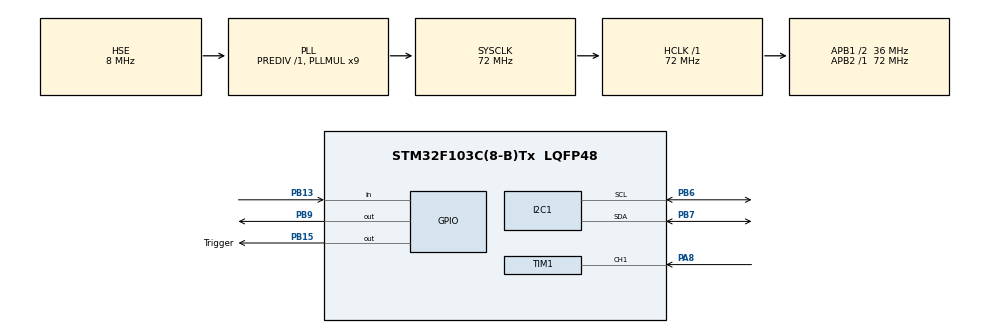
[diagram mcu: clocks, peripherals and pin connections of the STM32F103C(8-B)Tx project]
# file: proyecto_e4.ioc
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I2C1.I2C_Mode=I2C_Fast
Mcu.Family=STM32F1
Mcu.Name=STM32F103C(8-B)Tx
Mcu.Package=LQFP48
NVIC.PriorityGroup=NVIC_PRIORITYGROUP_4
NVIC.TIM1_CC_IRQn=true\:0\:0\:false\:false\:true\:true\:true\:true
PA8.Signal=S_TIM1_CH1
PB13.Signal=GPIO_Input
PB15.GPIO_Label=Trigger
PB15.Signal=GPIO_Output
PB6.Mode=I2C
PB6.Signal=I2C1_SCL
PB7.Mode=I2C
PB7.Signal=I2C1_SDA
PB9.Signal=GPIO_Output
PD0-OSC_IN.Mode=HSE-External-Oscillator
PD0-OSC_IN.Signal=RCC_OSC_IN
PD1-OSC_OUT.Mode=HSE-External-Oscillator
PD1-OSC_OUT.Signal=RCC_OSC_OUT
ProjectManager.HeapSize=0x200
ProjectManager.StackSize=0x400
ProjectManager.TargetToolchain=STM32CubeIDE
RCC.AHBFreq_Value=72000000
RCC.APB1CLKDivider=RCC_HCLK_DIV2
RCC.APB1Freq_Value=36000000
RCC.APB1TimFreq_Value=72000000
RCC.APB2Freq_Value=72000000
RCC.APB2TimFreq_Value=72000000
RCC.HCLKFreq_Value=72000000
RCC.PLLMUL=RCC_PLL_MUL9
RCC.PLLSourceVirtual=RCC_PLLSOURCE_HSE
RCC.SYSCLKFreq_VALUE=72000000
RCC.SYSCLKSource=RCC_SYSCLKSOURCE_PLLCLK
RCC.USBFreq_Value=72000000
SH.S_TIM1_CH1.0=TIM1_CH1,Input_Capture1_from_TI1
TIM1.Channel-Input_Capture1_from_TI1=TIM_CHANNEL_1
TIM1.Prescaler=71
TIM2.Prescaler=71
VP_SYS_VS_ND.Mode=No_Debug
VP_TIM2_VS_ClockSourceINT.Mode=Internal
board=custom

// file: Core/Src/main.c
/* USER CODE BEGIN Header */
/**
  ******************************************************************************
  * @file           : main.c
  * @brief          : Main program body
  ******************************************************************************
  * @attention
  *
  * Copyright (c) 2024 STMicroelectronics.
  * All rights reserved.
  *
  * This software is licensed under terms that can be found in the LICENSE file
  * in the root directory of this software component.
  * If no LICENSE file comes with this software, it is provided AS-IS.
  *
  ******************************************************************************
  */
/* USER CODE END Header */
#include "main.h"

/* USER CODE BEGIN Includes */
#include "i2c-lcd.h"
#include "stdio.h"
#include "hc_sr04.h"
/* USER CODE END Includes */

/* USER CODE BEGIN PTD */
GPIO_InitTypeDef GPIO_InitStruct;
/* USER CODE END PTD */

/* USER CODE BEGIN PD */
#define BUTTON_PIN GPIO_PIN_13			//se define el pin de entrada para el pulsador
#define BUTTON_PORT GPIOB
/* USER CODE END PD */

I2C_HandleTypeDef hi2c1;				//activacion del protocolo I2C para usar el display

TIM_HandleTypeDef htim1;				//timer para el sensor ultrasonico
TIM_HandleTypeDef htim2;				//timer para el sensor de temp y humedad

void SystemClock_Config(void);
static void MX_GPIO_Init(void);
static void MX_I2C1_Init(void);
static void MX_TIM2_Init(void);
static void MX_TIM1_Init(void);
/* USER CODE BEGIN PFP */
uint16_t distancia=0;
	char buffer_lcd[16]= {0};
	int bandera=0;
	unsigned long tiempo;
	unsigned long tiempo2=0;
	unsigned long tiempo3;
	unsigned long tiempo4=0;
	int boton;
	int banderatiempo;
/* USER CODE END PFP */

/* USER CODE BEGIN 0 */
#define DHT11_PORT GPIOB				//DECLARACION DE PUERTO Y PIN PARA EL DHT11
#define DHT11_PIN GPIO_PIN_9
uint8_t RHI, RHD, TCI, TCD, SUM;		//VARIABLES PARA ALMACENAR LOS BYTES ENVIADOS POR EL SENSOR
uint32_t pMillis, cMillis;
float tCelsius = 0;						//VARIABLE PARA TEMPERATURA
float RH = 0;							//VARIABLE PARA HUMEDAD RELATIVA

void microDelay (uint16_t delay)		//GENERA DELAY EN MICROSEGUNDOS
{
  __HAL_TIM_SET_COUNTER(&htim2, 0);
  while (__HAL_TIM_GET_COUNTER(&htim2) < delay);
}

uint8_t DHT11_Start (void)				//CONFIGURA EL PIN DEL SENSOR E INICIA LA COMUNICACION
{										//responde a la trama de comunicacion para el DHT11
  uint8_t Response = 0;
  GPIO_InitTypeDef GPIO_InitStructPrivate = {0};
  GPIO_InitStructPrivate.Pin = DHT11_PIN;
  GPIO_InitStructPrivate.Mode = GPIO_MODE_OUTPUT_PP;
  GPIO_InitStructPrivate.Speed = GPIO_SPEED_FREQ_LOW;
  GPIO_InitStructPrivate.Pull = GPIO_NOPULL;
  HAL_GPIO_Init(DHT11_PORT, &GPIO_InitStructPrivate); // SE CONFIGURA EL PIN COMO SALIDA
  HAL_GPIO_WritePin (DHT11_PORT, DHT11_PIN, 0);   // LLEVA EL PIN A VALOR BAJO
  HAL_Delay(20);   								  // SE ESPERA 20 ms
  HAL_GPIO_WritePin (DHT11_PORT, DHT11_PIN, 1);   // LLEVA EL VALOR DEL PIN A ALTO
  microDelay (30);   							  // SE ESPERA 30us
  GPIO_InitStructPrivate.Mode = GPIO_MODE_INPUT;
  GPIO_InitStructPrivate.Pull = GPIO_PULLUP;
  HAL_GPIO_Init(DHT11_PORT, &GPIO_InitStructPrivate); // SE CONFIGURA EL PIN COMO ENTRADA
  microDelay (40);
  if (!(HAL_GPIO_ReadPin (DHT11_PORT, DHT11_PIN)))
  {
    microDelay (80);
    if ((HAL_GPIO_ReadPin (DHT11_PORT, DHT11_PIN))) Response = 1;
  }
  pMillis = HAL_GetTick();
  cMillis = HAL_GetTick();
  while ((HAL_GPIO_ReadPin (DHT11_PORT, DHT11_PIN)) && pMillis + 2 > cMillis)
  {
    cMillis = HAL_GetTick();
  }
  return Response;
}

uint8_t DHT11_Read (void)					//REALIZA LA LECTURA DE 1 BYTE ENVIADO POR EL SENSOR
{
  uint8_t a,b;
  for (a=0;a<8;a++)
  {
    pMillis = HAL_GetTick();
    cMillis = HAL_GetTick();
    while (!(HAL_GPIO_ReadPin (DHT11_PORT, DHT11_PIN)) && pMillis + 2 > cMillis)
    {  // SE ESPERA POR UN VALOR ALTO Y SE VERIFICA QUE CUMPLA EL TIEMPO DE TRAMA
      cMillis = HAL_GetTick();
    }
    microDelay (40);
    if (!(HAL_GPIO_ReadPin (DHT11_PORT, DHT11_PIN)))
      b&= ~(1<<(7-a));
    else
      b|= (1<<(7-a));
    pMillis = HAL_GetTick();
    cMillis = HAL_GetTick();
    while ((HAL_GPIO_ReadPin (DHT11_PORT, DHT11_PIN)) && pMillis + 2 > cMillis)
    {
      cMillis = HAL_GetTick();
    }
  }
  return b;
}
//FUNCION PARA MOSTRAR LA TEMPERATURA EN DISPLAY
void Display_Temp (float Temp)
{
	char str[20] = {0};
	lcd_put_cur(1,0);					//se usa el segundo renglon para estos datos

	sprintf (str, "T:%.2f", Temp);
	lcd_send_string(str);
	lcd_send_data('c');
}

//FUNCION PARA MOSTRAR LA HUMEDAD RELATIVA EN DISPLAY
void Display_Rh (float Rh)
{
	char str[20] = {0};
	lcd_put_cur(1,10);					//seleccionamos la ultima parte del segundo renglon

	sprintf (str, "Rh:%.0f", Rh);
	lcd_send_string(str);
	lcd_send_data('%');
}
/* USER CODE END 0 */

int main(void)
{

  /* MCU Configuration--------------------------------------------------------*/

  /* Reset of all peripherals, Initializes the Flash interface and the Systick. */
  HAL_Init();

  /* Configure the system clock */
  SystemClock_Config();

  /* Initialize all configured peripherals */
  MX_GPIO_Init();
  MX_I2C1_Init();
  MX_TIM2_Init();
  MX_TIM1_Init();
  /* USER CODE BEGIN 2 */
  HAL_TIM_Base_Start(&htim2);
  lcd_init();										//inicia el display LCD
  HCSR04_Init();									//inicia el sensor ultrasonico
  /* USER CODE END 2 */

  /* Infinite loop */
  /* USER CODE BEGIN WHILE */
    while (1)
      {
    	tiempo=HAL_GetTick();
    	if(tiempo-tiempo2>=2000){			//se actualiza la lectura cada 2 segundos
    		tiempo2=tiempo;

        if(DHT11_Start())
        {
          RHI = DHT11_Read(); // ENTERO DE HUMEDAD RELATIVA
          RHD = DHT11_Read(); // DECIMAL DE HUMEDAD RELATIVA (POR EL TAMAÑO LIMITADO DEL DISPLAY NO SE USA LUEGO)
          TCI = DHT11_Read(); // ENTERO DE TEMPERATURA
          TCD = DHT11_Read(); // DECIMAL DE TEMPERATURA
          SUM = DHT11_Read(); // SUMA PARA CHEQUEO DE TRAMA CORRECTA
          if (RHI + RHD + TCI + TCD == SUM)
          {
            tCelsius = (float)TCI + (float)(TCD/10.0);
            RH = (float)RHI + (float)(RHD/10.0);
            Display_Temp(tCelsius);
            Display_Rh(RH);

          }
        }
    	}
        if(bandera==0){
        		  lcd_put_cur(0,0);
        		  lcd_send_string(" Presione boton ");
        		  bandera=1;
        	  }
        	  if (HAL_GPIO_ReadPin(BUTTON_PORT, BUTTON_PIN) == GPIO_PIN_RESET) {
        		  lcd_clear();
        		  lcd_put_cur(0,0);
        		  lcd_send_string("  Calc. altura  ");
        		  bandera=0;
        		  HAL_Delay(5000);

        		  HAL_TIM_IC_CaptureCallback(&htim1);
        		  distancia=HCSR04_Get_Distance();
        		  HAL_Delay(500);
        		  HAL_TIM_IC_CaptureCallback(&htim1);
        		  distancia=HCSR04_Get_Distance();
        		  if(distancia>50){
        			  lcd_put_cur(0,0);
        			  lcd_send_string(" FUERA DE RANGO ");
        			  HAL_Delay(3000);
        		  }else{
        		  distancia=200-distancia;
        		  lcd_put_cur(0,0);
        		  sprintf(buffer_lcd, " Altura: %u  cm", distancia);
        		  lcd_send_string(buffer_lcd);
        		  HAL_Delay(7000);}
        	  }
    /* USER CODE END WHILE */

  }
}

void SystemClock_Config(void)
{
  RCC_OscInitTypeDef RCC_OscInitStruct = {0};
  RCC_ClkInitTypeDef RCC_ClkInitStruct = {0};

  /** Initializes the RCC Oscillators according to the specified parameters
  * in the RCC_OscInitTypeDef structure.
  */
  RCC_OscInitStruct.OscillatorType = RCC_OSCILLATORTYPE_HSE;
  RCC_OscInitStruct.HSEState = RCC_HSE_ON;
  RCC_OscInitStruct.HSEPredivValue = RCC_HSE_PREDIV_DIV1;
  RCC_OscInitStruct.HSIState = RCC_HSI_ON;
  RCC_OscInitStruct.PLL.PLLState = RCC_PLL_ON;
  RCC_OscInitStruct.PLL.PLLSource = RCC_PLLSOURCE_HSE;
  RCC_OscInitStruct.PLL.PLLMUL = RCC_PLL_MUL9;
  if (HAL_RCC_OscConfig(&RCC_OscInitStruct) != HAL_OK)
  {
    Error_Handler();
  }

  /** Initializes the CPU, AHB and APB buses clocks
  */
  RCC_ClkInitStruct.ClockType = RCC_CLOCKTYPE_HCLK|RCC_CLOCKTYPE_SYSCLK
                              |RCC_CLOCKTYPE_PCLK1|RCC_CLOCKTYPE_PCLK2;
  RCC_ClkInitStruct.SYSCLKSource = RCC_SYSCLKSOURCE_PLLCLK;
  RCC_ClkInitStruct.AHBCLKDivider = RCC_SYSCLK_DIV1;
  RCC_ClkInitStruct.APB1CLKDivider = RCC_HCLK_DIV2;
  RCC_ClkInitStruct.APB2CLKDivider = RCC_HCLK_DIV1;

  if (HAL_RCC_ClockConfig(&RCC_ClkInitStruct, FLASH_LATENCY_2) != HAL_OK)
  {
    Error_Handler();
  }
}

static void MX_I2C1_Init(void)
{

  hi2c1.Instance = I2C1;
  hi2c1.Init.ClockSpeed = 400000;
  hi2c1.Init.DutyCycle = I2C_DUTYCYCLE_2;
  hi2c1.Init.OwnAddress1 = 0;
  hi2c1.Init.AddressingMode = I2C_ADDRESSINGMODE_7BIT;
  hi2c1.Init.DualAddressMode = I2C_DUALADDRESS_DISABLE;
  hi2c1.Init.OwnAddress2 = 0;
  hi2c1.Init.GeneralCallMode = I2C_GENERALCALL_DISABLE;
  hi2c1.Init.NoStretchMode = I2C_NOSTRETCH_DISABLE;
  if (HAL_I2C_Init(&hi2c1) != HAL_OK)
  {
    Error_Handler();
  }

}

static void MX_TIM1_Init(void)
{

  TIM_MasterConfigTypeDef sMasterConfig = {0};
  TIM_IC_InitTypeDef sConfigIC = {0};

  htim1.Instance = TIM1;
  htim1.Init.Prescaler = 71;
  htim1.Init.CounterMode = TIM_COUNTERMODE_UP;
  htim1.Init.Period = 65535;
  htim1.Init.ClockDivision = TIM_CLOCKDIVISION_DIV1;
  htim1.Init.RepetitionCounter = 0;
  htim1.Init.AutoReloadPreload = TIM_AUTORELOAD_PRELOAD_DISABLE;
  if (HAL_TIM_IC_Init(&htim1) != HAL_OK)
  {
    Error_Handler();
  }
  sMasterConfig.MasterOutputTrigger = TIM_TRGO_RESET;
  sMasterConfig.MasterSlaveMode = TIM_MASTERSLAVEMODE_DISABLE;
  if (HAL_TIMEx_MasterConfigSynchronization(&htim1, &sMasterConfig) != HAL_OK)
  {
    Error_Handler();
  }
  sConfigIC.ICPolarity = TIM_INPUTCHANNELPOLARITY_RISING;
  sConfigIC.ICSelection = TIM_ICSELECTION_DIRECTTI;
  sConfigIC.ICPrescaler = TIM_ICPSC_DIV1;
  sConfigIC.ICFilter = 0;
  if (HAL_TIM_IC_ConfigChannel(&htim1, &sConfigIC, TIM_CHANNEL_1) != HAL_OK)
  {
    Error_Handler();
  }

}

static void MX_TIM2_Init(void)
{

  TIM_ClockConfigTypeDef sClockSourceConfig = {0};
  TIM_MasterConfigTypeDef sMasterConfig = {0};

  htim2.Instance = TIM2;
  htim2.Init.Prescaler = 71;
  htim2.Init.CounterMode = TIM_COUNTERMODE_UP;
  htim2.Init.Period = 65535;
  htim2.Init.ClockDivision = TIM_CLOCKDIVISION_DIV1;
  htim2.Init.AutoReloadPreload = TIM_AUTORELOAD_PRELOAD_DISABLE;
  if (HAL_TIM_Base_Init(&htim2) != HAL_OK)
  {
    Error_Handler();
  }
  sClockSourceConfig.ClockSource = TIM_CLOCKSOURCE_INTERNAL;
  if (HAL_TIM_ConfigClockSource(&htim2, &sClockSourceConfig) != HAL_OK)
  {
    Error_Handler();
  }
  sMasterConfig.MasterOutputTrigger = TIM_TRGO_RESET;
  sMasterConfig.MasterSlaveMode = TIM_MASTERSLAVEMODE_DISABLE;
  if (HAL_TIMEx_MasterConfigSynchronization(&htim2, &sMasterConfig) != HAL_OK)
  {
    Error_Handler();
  }

}

static void MX_GPIO_Init(void)
{
  GPIO_InitTypeDef GPIO_InitStruct = {0};

  /* GPIO Ports Clock Enable */
  __HAL_RCC_GPIOD_CLK_ENABLE();
  __HAL_RCC_GPIOB_CLK_ENABLE();
  __HAL_RCC_GPIOA_CLK_ENABLE();

  /*Configure GPIO pin Output Level */
  HAL_GPIO_WritePin(GPIOB, Trigger_Pin|GPIO_PIN_9, GPIO_PIN_RESET);

  /*Configure GPIO pin : PB13 */
  GPIO_InitStruct.Pin = GPIO_PIN_13;
  GPIO_InitStruct.Mode = GPIO_MODE_INPUT;
  GPIO_InitStruct.Pull = GPIO_NOPULL;
  HAL_GPIO_Init(GPIOB, &GPIO_InitStruct);

  /*Configure GPIO pins : Trigger_Pin PB9 */
  GPIO_InitStruct.Pin = Trigger_Pin|GPIO_PIN_9;
  GPIO_InitStruct.Mode = GPIO_MODE_OUTPUT_PP;
  GPIO_InitStruct.Pull = GPIO_NOPULL;
  GPIO_InitStruct.Speed = GPIO_SPEED_FREQ_LOW;
  HAL_GPIO_Init(GPIOB, &GPIO_InitStruct);

}

void Error_Handler(void)
{
  __disable_irq();
  while (1)
  {
  }
}
